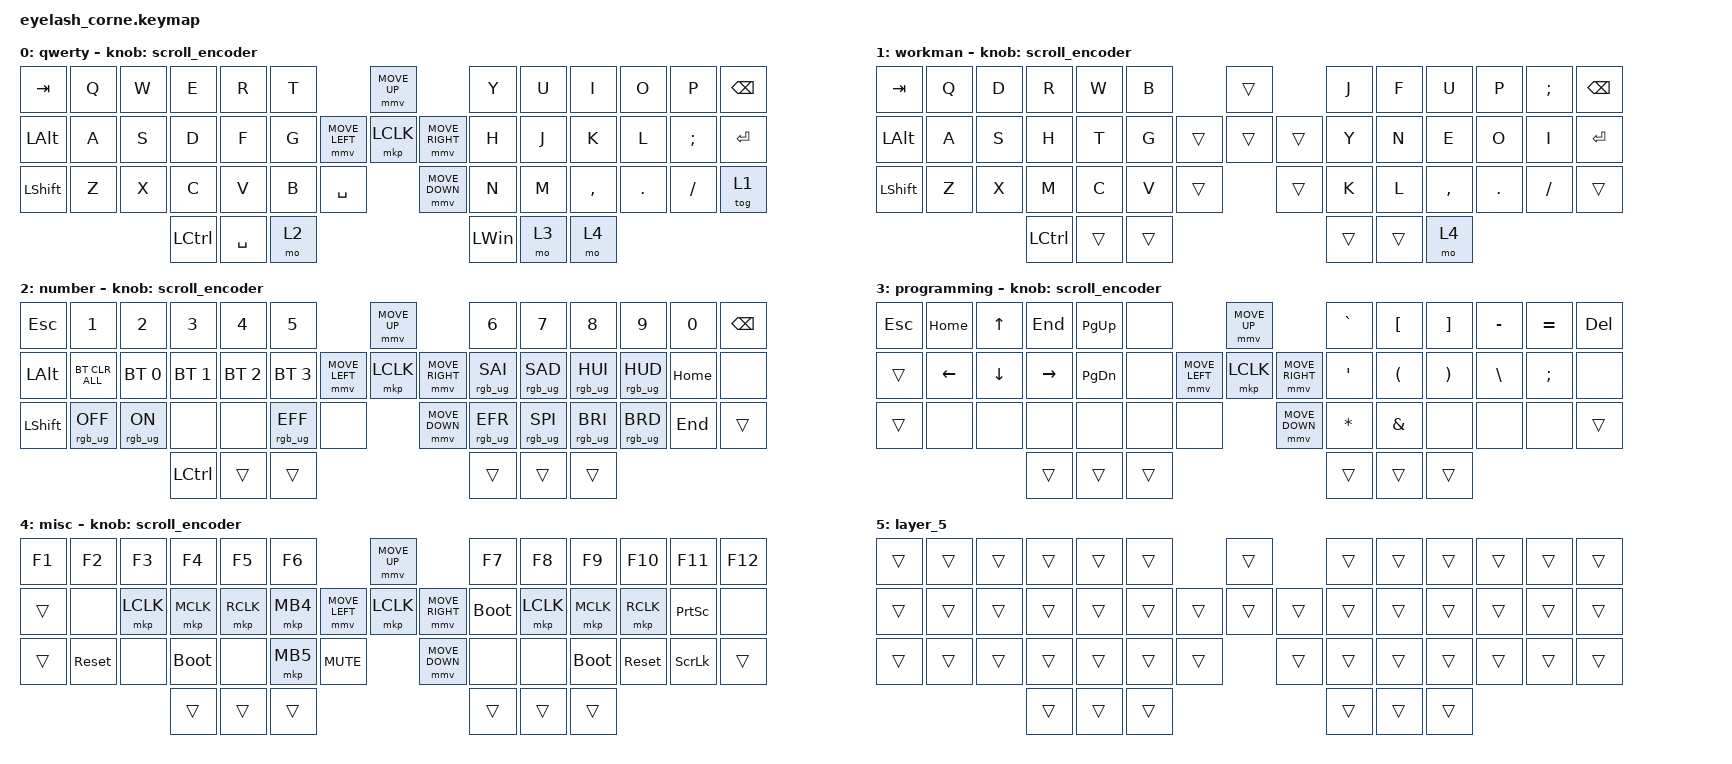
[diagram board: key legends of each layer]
#define ZMK_POINTING_DEFAULT_MOVE_VAL 1200  // 600
#define ZMK_POINTING_DEFAULT_SCRL_VAL 25   // 10

#include <input/processors.dtsi>
#include <zephyr/dt-bindings/input/input-event-codes.h>
#include <behaviors.dtsi>
#include <dt-bindings/zmk/bt.h>
#include <dt-bindings/zmk/keys.h>
#include <dt-bindings/zmk/pointing.h>
#include <dt-bindings/zmk/rgb.h>

&mmv_input_listener { input-processors = <&zip_xy_scaler 2 1>; };

&msc_input_listener { input-processors = <&zip_scroll_scaler 2 1>; };

&msc {
    acceleration-exponent = <1>;      // 0
    time-to-max-speed-ms = <100>;       // 300
    delay-ms = <0>;                   // 0
};

&mmv {
    time-to-max-speed-ms = <500>;
    acceleration-exponent = <1>;
    trigger-period-ms = <16>;
};

&soft_off { hold-time-ms = <2000>; };

/ {
    behaviors {
        td0: td0 {
            compatible = "zmk,behavior-tap-dance";
            display-name = "Shift/Caps Lock Tap Dance";
            #binding-cells = <0>;
            bindings = <&kp LEFT_SHIFT>, <&kp CAPS>;
        };
    };

    rgb_encoder: rgb_encoder {
        compatible = "zmk,behavior-sensor-rotate";
        #sensor-binding-cells = <0>;
        bindings = <&rgb_ug RGB_BRI>, <&rgb_ug RGB_BRD>;
    };

    scroll_encoder: scroll_encoder {
        compatible = "zmk,behavior-sensor-rotate";
        #sensor-binding-cells = <0>;
        bindings = <&msc SCRL_DOWN>, <&msc SCRL_UP>;

        tap-ms = <100>;
    };

    combos {
        compatible = "zmk,combos";

        softoff {
            bindings = <&soft_off>;
            key-positions = <1 15 29>;
        };
    };

    keymap {
        compatible = "zmk,keymap";

        default_layer {
            display-name = "qwerty";
            bindings = <
&kp TAB         &kp Q  &kp W  &kp E      &kp R      &kp T                               &mmv MOVE_UP                     &kp Y         &kp U  &kp I      &kp O    &kp P     &kp BSPC
&kp LEFT_ALT    &kp A  &kp S  &kp D      &kp F      &kp G               &mmv MOVE_LEFT  &mkp LCLK       &mmv MOVE_RIGHT  &kp H         &kp J  &kp K      &kp L    &kp SEMI  &kp ENTER
&kp LEFT_SHIFT  &kp Z  &kp X  &kp C      &kp V      &kp B  &kp SPACE                    &mmv MOVE_DOWN                   &kp N         &kp M  &kp COMMA  &kp DOT  &kp FSLH  &tog 1
                              &kp LCTRL  &kp SPACE  &mo 2                                                                &kp LEFT_WIN  &mo 3  &mo 4
            >;

            sensor-bindings = <&scroll_encoder>;
        };

        Workman {
            display-name = "workman";
            bindings = <
&kp TAB       &kp Q  &kp D  &kp R      &kp W   &kp B                     &trans          &kp J   &kp F   &kp U      &kp P    &kp SEMI  &kp BSPC
&kp LEFT_ALT  &kp A  &kp S  &kp H      &kp T   &kp G             &trans  &trans  &trans  &kp Y   &kp N   &kp E      &kp O    &kp I     &kp RET
&kp LSHFT     &kp Z  &kp X  &kp M      &kp C   &kp V   &trans            &trans          &kp K   &kp L   &kp COMMA  &kp DOT  &kp FSLH  &trans
                            &kp LCTRL  &trans  &trans                                    &trans  &trans  &mo 4
            >;

            sensor-bindings = <&scroll_encoder>;
        };

        lower_layer {
            display-name = "number";
            bindings = <
&kp ESCAPE      &kp N1           &kp N2          &kp N3        &kp N4        &kp N5                                    &mmv MOVE_UP                     &kp N6           &kp N7           &kp N8           &kp N9           &kp N0    &kp BSPC
&kp LEFT_ALT    &bt BT_CLR_ALL   &bt BT_SEL 0    &bt BT_SEL 1  &bt BT_SEL 2  &bt BT_SEL 3              &mmv MOVE_LEFT  &mkp LCLK       &mmv MOVE_RIGHT  &rgb_ug RGB_SAI  &rgb_ug RGB_SAD  &rgb_ug RGB_HUI  &rgb_ug RGB_HUD  &kp HOME  &none
&kp LEFT_SHIFT  &rgb_ug RGB_OFF  &rgb_ug RGB_ON  &none         &none         &rgb_ug RGB_EFF  &none                    &mmv MOVE_DOWN                   &rgb_ug RGB_EFR  &rgb_ug RGB_SPI  &rgb_ug RGB_BRI  &rgb_ug RGB_BRD  &kp END   &trans
                                                 &kp LCTRL     &trans        &trans                                                                     &trans           &trans           &trans
            >;

            sensor-bindings = <&scroll_encoder>;
        };

        raise_layer {
            display-name = "programming";
            bindings = <
&kp ESCAPE  &kp HOME        &kp UP_ARROW    &kp END          &kp PAGE_UP    &none                            &mmv MOVE_UP                     &kp GRAVE         &kp LEFT_BRACKET      &kp RIGHT_BRACKET      &kp MINUS      &kp EQUAL  &kp DEL
&trans      &kp LEFT_ARROW  &kp DOWN_ARROW  &kp RIGHT_ARROW  &kp PAGE_DOWN  &none            &mmv MOVE_LEFT  &mkp LCLK       &mmv MOVE_RIGHT  &kp SINGLE_QUOTE  &kp LEFT_PARENTHESIS  &kp RIGHT_PARENTHESIS  &kp BACKSLASH  &kp SEMI   &none
&trans      &none           &none           &none            &none          &none   &none                    &mmv MOVE_DOWN                   &kp ASTERISK      &kp AMPS              &none                  &none          &none      &trans
                                            &trans           &trans         &trans                                                            &trans            &trans                &trans
            >;

            sensor-bindings = <&scroll_encoder>;
        };

        layer_3 {
            display-name = "misc";
            bindings = <
&kp F1  &kp F2      &kp F3     &kp F4       &kp F5     &kp F6                                  &mmv MOVE_UP                     &kp F7       &kp F8     &kp F9       &kp F10     &kp F11          &kp F12
&trans  &none       &mkp LCLK  &mkp MCLK    &mkp RCLK  &mkp MB4                &mmv MOVE_LEFT  &mkp LCLK       &mmv MOVE_RIGHT  &bootloader  &mkp LCLK  &mkp MCLK    &mkp RCLK   &kp PRINTSCREEN  &none
&trans  &sys_reset  &none      &bootloader  &none      &mkp MB5  &kp C_MUTE                    &mmv MOVE_DOWN                   &none        &none      &bootloader  &sys_reset  &kp SCROLLLOCK   &trans
                               &trans       &trans     &trans                                                                   &trans       &trans     &trans
            >;

            sensor-bindings = <&scroll_encoder>;
        };

        layer_5 {
            bindings = <
&trans  &trans  &trans  &trans  &trans  &trans                    &trans          &trans  &trans  &trans  &trans  &trans  &trans
&trans  &trans  &trans  &trans  &trans  &trans            &trans  &trans  &trans  &trans  &trans  &trans  &trans  &trans  &trans
&trans  &trans  &trans  &trans  &trans  &trans  &trans            &trans          &trans  &trans  &trans  &trans  &trans  &trans
                        &trans  &trans  &trans                                    &trans  &trans  &trans
            >;
        };
    };
};
